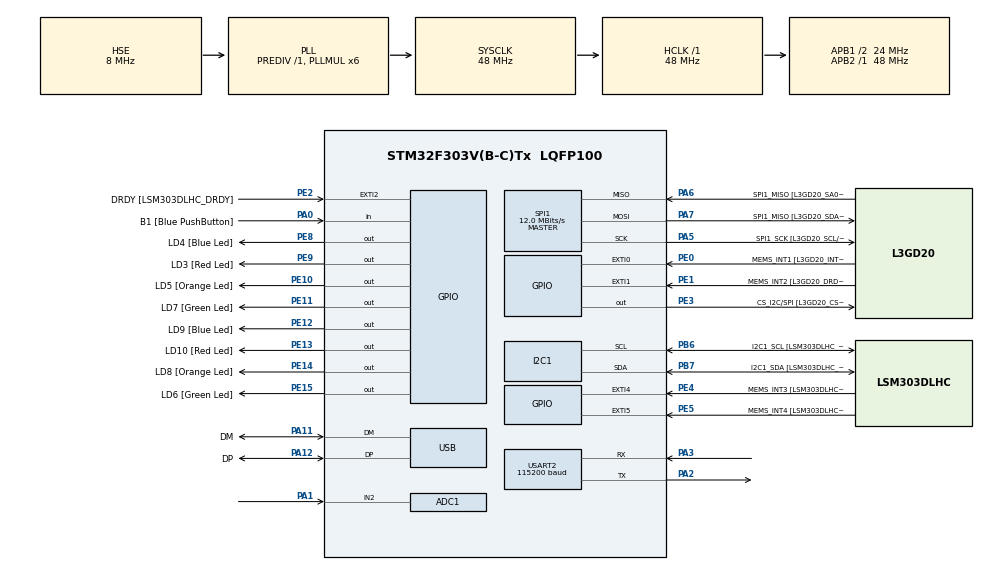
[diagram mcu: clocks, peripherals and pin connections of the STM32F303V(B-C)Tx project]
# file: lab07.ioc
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ADC1.Channel-0\#ChannelRegularConversion=ADC_CHANNEL_2
ADC1.NbrOfConversionFlag=1
ADC1.Offset-0\#ChannelRegularConversion=0
ADC1.OffsetNumber-0\#ChannelRegularConversion=ADC_OFFSET_NONE
ADC1.Rank-0\#ChannelRegularConversion=1
ADC1.SamplingTime-0\#ChannelRegularConversion=ADC_SAMPLETIME_61CYCLES_5
ADC1.SamplingTimeOPAMP-0\#ChannelRegularConversion=ADC_SAMPLETIME_19CYCLES_5
ADC1.master=1
I2C1.Timing=0x00201D2B
I2C1.Timing-I2C=0x2000090E
Mcu.Family=STM32F3
Mcu.Name=STM32F303V(B-C)Tx
Mcu.Package=LQFP100
NVIC.ADC1_2_IRQn=true\:0\:0\:false\:false\:true\:true\:true\:true
NVIC.PriorityGroup=NVIC_PRIORITYGROUP_0
NVIC.USB_LP_CAN_RX0_IRQn=true\:0\:0\:false\:false\:true\:false\:true\:true
PA0.GPIO_Label=B1 [Blue PushButton]
PA0.Signal=GPIO_Input
PA1.Mode=IN2-Single-Ended
PA1.Signal=ADC1_IN2
PA11.GPIO_Label=DM
PA11.Mode=Device
PA11.Signal=USB_DM
PA12.GPIO_Label=DP
PA12.Mode=Device
PA12.Signal=USB_DP
PA13.GPIO_Label=SWDIO
PA13.Mode=Serial_Wire
PA13.Signal=SYS_JTMS-SWDIO
PA14.GPIO_Label=SWCLK
PA14.Mode=Serial_Wire
PA14.Signal=SYS_JTCK-SWCLK
PA2.Mode=Asynchronous
PA2.Signal=USART2_TX
PA3.Mode=Asynchronous
PA3.Signal=USART2_RX
PA5.GPIO_Label=SPI1_SCK [L3GD20_SCL/SPC]
PA5.Mode=Full_Duplex_Master
PA5.Signal=SPI1_SCK
PA6.GPIO_Label=SPI1_MISO [L3GD20_SA0/SDO]
PA6.Mode=Full_Duplex_Master
PA6.Signal=SPI1_MISO
PA7.GPIO_Label=SPI1_MISO [L3GD20_SDA/SDI/SDO]
PA7.Mode=Full_Duplex_Master
PA7.Signal=SPI1_MOSI
PB3.GPIO_Label=SWO
PB3.Signal=SYS_JTDO-TRACESWO
PB6.GPIO_Label=I2C1_SCL [LSM303DLHC_SCL]
PB6.GPIO_Pu=GPIO_PULLUP
PB6.Mode=I2C
PB6.Signal=I2C1_SCL
PB7.GPIO_Label=I2C1_SDA [LSM303DLHC_SDA]
PB7.GPIO_Pu=GPIO_PULLUP
PB7.Mode=I2C
PB7.Signal=I2C1_SDA
PC14-OSC32_IN.GPIO_Label=OSC32_IN
PC14-OSC32_IN.Signal=RCC_OSC32_IN
PC15-OSC32_OUT.GPIO_Label=OSC32_OUT
PC15-OSC32_OUT.Signal=RCC_OSC32_OUT
PE0.GPIO_Label=MEMS_INT1 [L3GD20_INT1]
PE0.GPIO_ModeDefaultEXTI=GPIO_MODE_EVT_RISING
PE0.Signal=GPXTI0
PE1.GPIO_Label=MEMS_INT2 [L3GD20_DRDY/INT2]
PE1.GPIO_ModeDefaultEXTI=GPIO_MODE_EVT_RISING
PE1.Signal=GPXTI1
PE10.GPIO_Label=LD5 [Orange Led]
PE10.Signal=GPIO_Output
PE11.GPIO_Label=LD7 [Green Led]
PE11.Signal=GPIO_Output
PE12.GPIO_Label=LD9 [Blue Led]
PE12.Signal=GPIO_Output
PE13.GPIO_Label=LD10 [Red Led]
PE13.Signal=GPIO_Output
PE14.GPIO_Label=LD8 [Orange Led]
PE14.Signal=GPIO_Output
PE15.GPIO_Label=LD6 [Green Led]
PE15.Signal=GPIO_Output
PE2.GPIO_Label=DRDY [LSM303DLHC_DRDY]
PE2.GPIO_ModeDefaultEXTI=GPIO_MODE_EVT_RISING
PE2.Signal=GPXTI2
PE3.GPIO_Label=CS_I2C/SPI [L3GD20_CS_I2C/SPI]
PE3.Signal=GPIO_Output
PE4.GPIO_Label=MEMS_INT3 [LSM303DLHC_INT1]
PE4.GPIO_ModeDefaultEXTI=GPIO_MODE_EVT_RISING
PE4.Signal=GPXTI4
PE5.GPIO_Label=MEMS_INT4 [LSM303DLHC_INT2]
PE5.GPIO_ModeDefaultEXTI=GPIO_MODE_EVT_RISING
PE5.Signal=GPXTI5
PE8.GPIO_Label=LD4 [Blue Led]
PE8.Signal=GPIO_Output
PE9.GPIO_Label=LD3 [Red Led]
PE9.Signal=GPIO_Output
PF0-OSC_IN.GPIO_Label=OSC_IN
PF0-OSC_IN.Mode=HSE-External-Clock-Source
PF0-OSC_IN.Signal=RCC_OSC_IN
PF1-OSC_OUT.GPIO_Label=OSC_OUT
PF1-OSC_OUT.Signal=RCC_OSC_OUT
ProjectManager.HeapSize=0x200
ProjectManager.StackSize=0x400
ProjectManager.TargetToolchain=CMake
RCC.AHBFreq_Value=48000000
RCC.APB1CLKDivider=RCC_HCLK_DIV2
RCC.APB1Freq_Value=24000000
RCC.APB1TimFreq_Value=48000000
RCC.APB2Freq_Value=48000000
RCC.APB2TimFreq_Value=48000000
RCC.CortexFreq_Value=48000000
RCC.HCLKFreq_Value=48000000
RCC.HSE_VALUE=8000000
RCC.HSI_VALUE=8000000
RCC.LSE_VALUE=32768
RCC.PLLMUL=RCC_PLL_MUL6
RCC.SYSCLKFreq_VALUE=48000000
RCC.SYSCLKSourceVirtual=RCC_SYSCLKSOURCE_PLLCLK
RCC.USBFreq_Value=48000000
SPI1.BaudRatePrescaler=SPI_BAUDRATEPRESCALER_4
SPI1.BaudRatePrescaler-Full_Duplex_Master=SPI_BAUDRATEPRESCALER_2
SPI1.CalculateBaudRate=12.0 MBits/s
SPI1.CalculateBaudRate-Full_Duplex_Master=24.0 MBits/s
SPI1.Direction=SPI_DIRECTION_2LINES
SPI1.Mode=SPI_MODE_MASTER
SPI1.Mode-Full_Duplex_Master=SPI_MODE_MASTER
SPI1.VirtualType=VM_MASTER
USART2.BaudRate=115200
USART2.VirtualMode-Asynchronous=VM_ASYNC
USB_DEVICE.CLASS_NAME_FS=CDC
USB_DEVICE.VirtualMode=Cdc
USB_DEVICE.VirtualModeFS=Cdc_FS
VP_USB_DEVICE_VS_USB_DEVICE_CDC_FS.Mode=CDC_FS
board=STM32F3DISCOVERY

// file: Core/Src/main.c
/* USER CODE BEGIN Header */
/**
  ******************************************************************************
  * @file           : main.c
  * @brief          : Main program body
  ******************************************************************************
  * @attention
  *
  * Copyright (c) 2026 STMicroelectronics.
  * All rights reserved.
  *
  * This software is licensed under terms that can be found in the LICENSE file
  * in the root directory of this software component.
  * If no LICENSE file comes with this software, it is provided AS-IS.
  *
  ******************************************************************************
  */
/* USER CODE END Header */
#include "main.h"
#include "usb_device.h"

/* USER CODE BEGIN Includes */

#include <stdio.h>
#include <string.h>
/* USER CODE END Includes */

ADC_HandleTypeDef hadc1;

I2C_HandleTypeDef hi2c1;

SPI_HandleTypeDef hspi1;

UART_HandleTypeDef huart2;

/* USER CODE BEGIN PV */

uint32_t adc_value;
float voltage;
char msg[100];

/* USER CODE END PV */

void SystemClock_Config(void);
static void MX_GPIO_Init(void);
static void MX_ADC1_Init(void);
static void MX_I2C1_Init(void);
static void MX_SPI1_Init(void);
static void MX_USART2_UART_Init(void);

/* USER CODE BEGIN 0 */

int _write(int file, char *ptr, int len) {
    HAL_UART_Transmit(&huart2, (uint8_t*)ptr, len, HAL_MAX_DELAY);
  return len;
}

/* USER CODE END 0 */

int main(void)
{

  /* MCU Configuration--------------------------------------------------------*/

  /* Reset of all peripherals, Initializes the Flash interface and the Systick. */
  HAL_Init();

  /* Configure the system clock */
  SystemClock_Config();

  /* Initialize all configured peripherals */
  MX_GPIO_Init();
  MX_ADC1_Init();
  MX_I2C1_Init();
  MX_SPI1_Init();
  MX_USB_DEVICE_Init();
  MX_USART2_UART_Init();
  /* USER CODE BEGIN 2 */
  HAL_ADCEx_Calibration_Start(&hadc1, ADC_SINGLE_ENDED);
  /* USER CODE END 2 */

  /* Infinite loop */
  while (1)
  {

    /* USER CODE BEGIN 3 */

   // Start ADC conversion
    HAL_ADC_Start(&hadc1);

    // Wait for conversion
    if (HAL_ADC_PollForConversion(&hadc1, 100) == HAL_OK)
    {
    // Read ADC value
    adc_value = HAL_ADC_GetValue(&hadc1);

    // Convert digital value into voltage
    uint32_t voltage_mV = (adc_value * 3300UL) / 4095UL;

    // Prepare UART message
    int len = snprintf(msg, sizeof(msg),
      "ADC: %lu  Voltage: %lu.%03lu V\r\n",
      (unsigned long)adc_value,
      (unsigned long)(voltage_mV / 1000),
      (unsigned long)(voltage_mV % 1000));

    if (len > 0)
    {
        HAL_UART_Transmit(&huart2,
                          (uint8_t *)msg,
                          (uint16_t)strlen(msg),
                          HAL_MAX_DELAY);
        }
    }

    HAL_ADC_Stop(&hadc1);

    HAL_Delay(100);

  }

  /* USER CODE END 3 */
}

void SystemClock_Config(void)
{
  RCC_OscInitTypeDef RCC_OscInitStruct = {0};
  RCC_ClkInitTypeDef RCC_ClkInitStruct = {0};
  RCC_PeriphCLKInitTypeDef PeriphClkInit = {0};

  /** Initializes the RCC Oscillators according to the specified parameters
  * in the RCC_OscInitTypeDef structure.
  */
  RCC_OscInitStruct.OscillatorType = RCC_OSCILLATORTYPE_HSI|RCC_OSCILLATORTYPE_HSE;
  RCC_OscInitStruct.HSEState = RCC_HSE_BYPASS;
  RCC_OscInitStruct.HSEPredivValue = RCC_HSE_PREDIV_DIV1;
  RCC_OscInitStruct.HSIState = RCC_HSI_ON;
  RCC_OscInitStruct.HSICalibrationValue = RCC_HSICALIBRATION_DEFAULT;
  RCC_OscInitStruct.PLL.PLLState = RCC_PLL_ON;
  RCC_OscInitStruct.PLL.PLLSource = RCC_PLLSOURCE_HSE;
  RCC_OscInitStruct.PLL.PLLMUL = RCC_PLL_MUL6;
  if (HAL_RCC_OscConfig(&RCC_OscInitStruct) != HAL_OK)
  {
    Error_Handler();
  }

  /** Initializes the CPU, AHB and APB buses clocks
  */
  RCC_ClkInitStruct.ClockType = RCC_CLOCKTYPE_HCLK|RCC_CLOCKTYPE_SYSCLK
                              |RCC_CLOCKTYPE_PCLK1|RCC_CLOCKTYPE_PCLK2;
  RCC_ClkInitStruct.SYSCLKSource = RCC_SYSCLKSOURCE_PLLCLK;
  RCC_ClkInitStruct.AHBCLKDivider = RCC_SYSCLK_DIV1;
  RCC_ClkInitStruct.APB1CLKDivider = RCC_HCLK_DIV2;
  RCC_ClkInitStruct.APB2CLKDivider = RCC_HCLK_DIV1;

  if (HAL_RCC_ClockConfig(&RCC_ClkInitStruct, FLASH_LATENCY_1) != HAL_OK)
  {
    Error_Handler();
  }
  PeriphClkInit.PeriphClockSelection = RCC_PERIPHCLK_USB|RCC_PERIPHCLK_USART2
                              |RCC_PERIPHCLK_I2C1|RCC_PERIPHCLK_ADC12;
  PeriphClkInit.Usart2ClockSelection = RCC_USART2CLKSOURCE_PCLK1;
  PeriphClkInit.Adc12ClockSelection = RCC_ADC12PLLCLK_DIV1;
  PeriphClkInit.I2c1ClockSelection = RCC_I2C1CLKSOURCE_HSI;
  PeriphClkInit.USBClockSelection = RCC_USBCLKSOURCE_PLL;
  if (HAL_RCCEx_PeriphCLKConfig(&PeriphClkInit) != HAL_OK)
  {
    Error_Handler();
  }
}

static void MX_ADC1_Init(void)
{

  ADC_MultiModeTypeDef multimode = {0};
  ADC_ChannelConfTypeDef sConfig = {0};

  /** Common config
  */
  hadc1.Instance = ADC1;
  hadc1.Init.ClockPrescaler = ADC_CLOCK_ASYNC_DIV1;
  hadc1.Init.Resolution = ADC_RESOLUTION_12B;
  hadc1.Init.ScanConvMode = ADC_SCAN_DISABLE;
  hadc1.Init.ContinuousConvMode = DISABLE;
  hadc1.Init.DiscontinuousConvMode = DISABLE;
  hadc1.Init.ExternalTrigConvEdge = ADC_EXTERNALTRIGCONVEDGE_NONE;
  hadc1.Init.ExternalTrigConv = ADC_SOFTWARE_START;
  hadc1.Init.DataAlign = ADC_DATAALIGN_RIGHT;
  hadc1.Init.NbrOfConversion = 1;
  hadc1.Init.DMAContinuousRequests = DISABLE;
  hadc1.Init.EOCSelection = ADC_EOC_SINGLE_CONV;
  hadc1.Init.LowPowerAutoWait = DISABLE;
  hadc1.Init.Overrun = ADC_OVR_DATA_OVERWRITTEN;
  if (HAL_ADC_Init(&hadc1) != HAL_OK)
  {
    Error_Handler();
  }

  /** Configure the ADC multi-mode
  */
  multimode.Mode = ADC_MODE_INDEPENDENT;
  if (HAL_ADCEx_MultiModeConfigChannel(&hadc1, &multimode) != HAL_OK)
  {
    Error_Handler();
  }

  /** Configure Regular Channel
  */
  sConfig.Channel = ADC_CHANNEL_2;
  sConfig.Rank = ADC_REGULAR_RANK_1;
  sConfig.SingleDiff = ADC_SINGLE_ENDED;
  sConfig.SamplingTime = ADC_SAMPLETIME_61CYCLES_5;
  sConfig.OffsetNumber = ADC_OFFSET_NONE;
  sConfig.Offset = 0;
  if (HAL_ADC_ConfigChannel(&hadc1, &sConfig) != HAL_OK)
  {
    Error_Handler();
  }

}

static void MX_I2C1_Init(void)
{

  hi2c1.Instance = I2C1;
  hi2c1.Init.Timing = 0x00201D2B;
  hi2c1.Init.OwnAddress1 = 0;
  hi2c1.Init.AddressingMode = I2C_ADDRESSINGMODE_7BIT;
  hi2c1.Init.DualAddressMode = I2C_DUALADDRESS_DISABLE;
  hi2c1.Init.OwnAddress2 = 0;
  hi2c1.Init.OwnAddress2Masks = I2C_OA2_NOMASK;
  hi2c1.Init.GeneralCallMode = I2C_GENERALCALL_DISABLE;
  hi2c1.Init.NoStretchMode = I2C_NOSTRETCH_DISABLE;
  if (HAL_I2C_Init(&hi2c1) != HAL_OK)
  {
    Error_Handler();
  }

  /** Configure Analogue filter
  */
  if (HAL_I2CEx_ConfigAnalogFilter(&hi2c1, I2C_ANALOGFILTER_ENABLE) != HAL_OK)
  {
    Error_Handler();
  }

  /** Configure Digital filter
  */
  if (HAL_I2CEx_ConfigDigitalFilter(&hi2c1, 0) != HAL_OK)
  {
    Error_Handler();
  }

}

static void MX_SPI1_Init(void)
{

  /* SPI1 parameter configuration*/
  hspi1.Instance = SPI1;
  hspi1.Init.Mode = SPI_MODE_MASTER;
  hspi1.Init.Direction = SPI_DIRECTION_2LINES;
  hspi1.Init.DataSize = SPI_DATASIZE_4BIT;
  hspi1.Init.CLKPolarity = SPI_POLARITY_LOW;
  hspi1.Init.CLKPhase = SPI_PHASE_1EDGE;
  hspi1.Init.NSS = SPI_NSS_SOFT;
  hspi1.Init.BaudRatePrescaler = SPI_BAUDRATEPRESCALER_4;
  hspi1.Init.FirstBit = SPI_FIRSTBIT_MSB;
  hspi1.Init.TIMode = SPI_TIMODE_DISABLE;
  hspi1.Init.CRCCalculation = SPI_CRCCALCULATION_DISABLE;
  hspi1.Init.CRCPolynomial = 7;
  hspi1.Init.CRCLength = SPI_CRC_LENGTH_DATASIZE;
  hspi1.Init.NSSPMode = SPI_NSS_PULSE_ENABLE;
  if (HAL_SPI_Init(&hspi1) != HAL_OK)
  {
    Error_Handler();
  }

}

static void MX_USART2_UART_Init(void)
{

  huart2.Instance = USART2;
  huart2.Init.BaudRate = 115200;
  huart2.Init.WordLength = UART_WORDLENGTH_8B;
  huart2.Init.StopBits = UART_STOPBITS_1;
  huart2.Init.Parity = UART_PARITY_NONE;
  huart2.Init.Mode = UART_MODE_TX_RX;
  huart2.Init.HwFlowCtl = UART_HWCONTROL_NONE;
  huart2.Init.OverSampling = UART_OVERSAMPLING_16;
  huart2.Init.OneBitSampling = UART_ONE_BIT_SAMPLE_DISABLE;
  huart2.AdvancedInit.AdvFeatureInit = UART_ADVFEATURE_NO_INIT;
  if (HAL_UART_Init(&huart2) != HAL_OK)
  {
    Error_Handler();
  }

}

static void MX_GPIO_Init(void)
{
  GPIO_InitTypeDef GPIO_InitStruct = {0};

  /* GPIO Ports Clock Enable */
  __HAL_RCC_GPIOE_CLK_ENABLE();
  __HAL_RCC_GPIOC_CLK_ENABLE();
  __HAL_RCC_GPIOF_CLK_ENABLE();
  __HAL_RCC_GPIOA_CLK_ENABLE();
  __HAL_RCC_GPIOB_CLK_ENABLE();

  /*Configure GPIO pin Output Level */
  HAL_GPIO_WritePin(GPIOE, CS_I2C_SPI_Pin|LD4_Pin|LD3_Pin|LD5_Pin
                          |LD7_Pin|LD9_Pin|LD10_Pin|LD8_Pin
                          |LD6_Pin, GPIO_PIN_RESET);

  /*Configure GPIO pins : DRDY_Pin MEMS_INT3_Pin MEMS_INT4_Pin MEMS_INT1_Pin
                           MEMS_INT2_Pin */
  GPIO_InitStruct.Pin = DRDY_Pin|MEMS_INT3_Pin|MEMS_INT4_Pin|MEMS_INT1_Pin
                          |MEMS_INT2_Pin;
  GPIO_InitStruct.Mode = GPIO_MODE_EVT_RISING;
  GPIO_InitStruct.Pull = GPIO_NOPULL;
  HAL_GPIO_Init(GPIOE, &GPIO_InitStruct);

  /*Configure GPIO pins : CS_I2C_SPI_Pin LD4_Pin LD3_Pin LD5_Pin
                           LD7_Pin LD9_Pin LD10_Pin LD8_Pin
                           LD6_Pin */
  GPIO_InitStruct.Pin = CS_I2C_SPI_Pin|LD4_Pin|LD3_Pin|LD5_Pin
                          |LD7_Pin|LD9_Pin|LD10_Pin|LD8_Pin
                          |LD6_Pin;
  GPIO_InitStruct.Mode = GPIO_MODE_OUTPUT_PP;
  GPIO_InitStruct.Pull = GPIO_NOPULL;
  GPIO_InitStruct.Speed = GPIO_SPEED_FREQ_LOW;
  HAL_GPIO_Init(GPIOE, &GPIO_InitStruct);

  /*Configure GPIO pin : B1_Pin */
  GPIO_InitStruct.Pin = B1_Pin;
  GPIO_InitStruct.Mode = GPIO_MODE_INPUT;
  GPIO_InitStruct.Pull = GPIO_NOPULL;
  HAL_GPIO_Init(B1_GPIO_Port, &GPIO_InitStruct);

}

void Error_Handler(void)
{
  __disable_irq();
  while (1)
  {
  }
}
